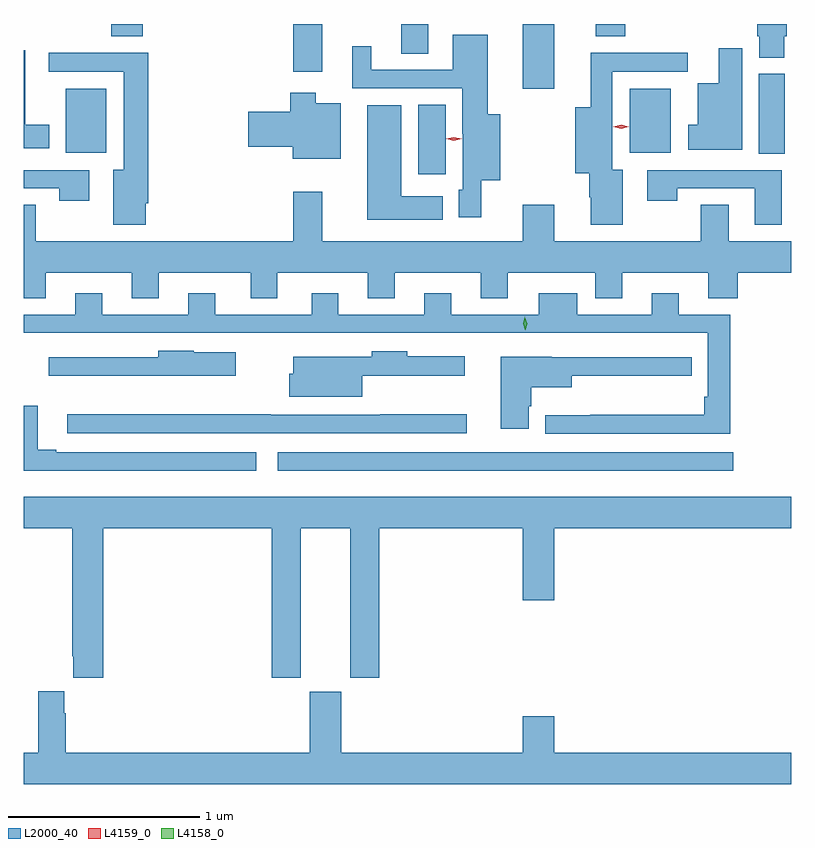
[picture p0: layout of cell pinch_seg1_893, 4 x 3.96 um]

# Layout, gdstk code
import gdstk
lib = gdstk.Library(unit=1e-6, precision=1e-09)
def R(c, l, rs):  # rectangles x0, y0, x1, y1
    for r in rs: c.add(gdstk.rectangle(r[:2], r[2:], *l))
def P(c, l, *ps):  # polygons
    for p in ps: c.add(gdstk.Polygon(p, *l))
L2000_40 = (2000, 40)
L4158_0 = (4158, 0)
L4159_0 = (4159, 0)

pinch_seg1_893 = lib.new_cell('pinch_seg1_893')
R(pinch_seg1_893, L2000_40, [(559.335,517.4,561.709,517.497), (560.066,518.946,560.209,519.308), (561.842,519.052,561.976,519.468), (558.23,519.056,558.442,519.391), (561.17,519.056,561.382,519.391), (560.612,519.39,560.776,519.728), (559.415,519.48,559.567,519.728), (559.979,519.574,560.119,519.728), (558.467,519.665,558.632,519.728), (560.993,519.665,561.146,519.728)])
P(pinch_seg1_893, L2000_40, [(561.973,519.663),(561.986,519.663),(561.986,519.728),(561.833,519.728),(561.833,519.663),(561.845,519.663),(561.845,519.553),(561.973,519.553)],
  [(560.396,518.915),(560.494,518.915),(560.494,519.259),(560.428,519.259),(560.428,519.673),(560.246,519.673),(560.246,519.489),(559.822,519.489),(559.822,519.613),(559.724,519.613),(559.724,519.393),(560.297,519.393),(560.297,519.155),(560.298,519.155),(560.298,518.865),(560.279,518.865),(560.279,518.721),(560.396,518.721)],
  [(561.754,519.601),(561.632,519.601),(561.632,519.418),(561.524,519.418),(561.524,519.202),(561.473,519.202),(561.473,519.074),(561.754,519.074)],
  [(558.145,519.202),(558.019,519.202),(558.019,519.592),(558.011,519.592),(558.011,519.08),(558.145,519.08)],
  [(561.133,518.968),(561.079,518.968),(561.079,519.48),(561.472,519.48),(561.472,519.578),(560.966,519.578),(560.966,519.295),(560.885,519.295),(560.885,518.951),(560.959,518.951),(560.959,518.825),(560.966,518.825),(560.966,518.682),(561.133,518.682)],
  [(558.646,518.794),(558.659,518.794),(558.659,519.578),(558.141,519.578),(558.141,519.48),(558.533,519.48),(558.533,518.968),(558.479,518.968),(558.479,518.682),(558.646,518.682)],
  [(559.663,519.316),(559.534,519.316),(559.534,519.37),(559.4,519.37),(559.4,519.272),(559.182,519.272),(559.182,519.089),(559.412,519.089),(559.412,519.026),(559.663,519.026)],
  [(560.194,518.83),(559.978,518.83),(559.978,519.304),(559.802,519.304),(559.802,518.708),(560.194,518.708)],
  [(558.352,518.967),(558.011,518.967),(558.011,518.871),(558.196,518.871),(558.196,518.808),(558.352,518.808)],
  [(561.961,518.967),(561.261,518.967),(561.261,518.808),(561.417,518.808),(561.417,518.871),(561.821,518.871),(561.821,518.682),(561.961,518.682)],
  [(558.127,518.432),(558.575,518.432),(558.575,518.299),(558.715,518.299),(558.715,518.432),(559.193,518.432),(559.193,518.299),(559.333,518.299),(559.333,518.432),(559.805,518.432),(559.805,518.299),(559.945,518.299),(559.945,518.432),(560.393,518.432),(560.393,518.299),(560.533,518.299),(560.533,518.432),(560.99,518.432),(560.99,518.299),(561.13,518.299),(561.13,518.432),(561.578,518.432),(561.578,518.299),(561.731,518.299),(561.731,518.432),(562.011,518.432),(562.011,518.596),(561.685,518.596),(561.685,518.786),(561.538,518.786),(561.538,518.596),(560.776,518.596),(560.776,518.785),(560.612,518.785),(560.612,518.596),(559.567,518.596),(559.567,518.854),(559.415,518.854),(559.415,518.596),(558.075,518.596),(558.075,518.786),(558.011,518.786),(558.011,518.299),(558.127,518.299)],
  [(561.692,518.214),(561.424,518.214),(561.424,518.326),(561.284,518.326),(561.284,518.214),(560.896,518.214),(560.896,518.326),(560.696,518.326),(560.696,518.214),(560.239,518.214),(560.239,518.326),(560.099,518.326),(560.099,518.214),(559.651,518.214),(559.651,518.326),(559.511,518.326),(559.511,518.214),(559.009,518.214),(559.009,518.326),(558.869,518.326),(558.869,518.214),(558.421,518.214),(558.421,518.326),(558.281,518.326),(558.281,518.214),(558.011,518.214),(558.011,518.118),(561.576,518.118),(561.576,517.786),(561.556,517.786),(561.556,517.691),(560.962,517.691),(560.962,517.69),(560.729,517.69),(560.729,517.593),(561.692,517.593)],
  [(559.117,518.017),(558.897,518.017),(558.897,518.026),(558.713,518.026),(558.713,517.992),(558.141,517.992),(558.141,517.895),(559.117,517.895)],
  [(559.774,517.895),(560.308,517.895),(560.308,517.996),(560.01,517.996),(560.01,518.023),(559.826,518.023),(559.826,517.993),(559.415,517.993),(559.415,517.905),(559.394,517.905),(559.394,517.787),(559.774,517.787)],
  [(560.644,517.736),(560.657,517.736),(560.657,517.835),(560.866,517.835),(560.866,517.895),(561.491,517.895),(561.491,517.991),(561.38,517.991),(561.38,517.992),(560.762,517.992),(560.762,517.993),(560.498,517.993),(560.498,517.62),(560.644,517.62)],
  [(559.222,517.497),(558.181,517.497),(558.181,517.51),(558.085,517.51),(558.085,517.738),(558.011,517.738),(558.011,517.4),(559.222,517.4)],
  [(560.32,517.694),(559.87,517.694),(559.87,517.692),(559.298,517.692),(559.298,517.694),(558.237,517.694),(558.237,517.596),(560.32,517.596)],
  [(558.425,517.1),(559.304,517.1),(559.304,516.321),(559.456,516.321),(559.456,517.1),(559.712,517.1),(559.712,516.321),(559.865,516.321),(559.865,517.1),(560.612,517.1),(560.612,516.726),(560.776,516.726),(560.776,517.1),(562.011,517.1),(562.011,517.264),(558.011,517.264),(558.011,517.1),(558.265,517.1),(558.265,516.433),(558.269,516.433),(558.269,516.321),(558.425,516.321)],
  [(562.011,515.932),(560.776,515.932),(560.776,516.121),(560.612,516.121),(560.612,515.932),(559.666,515.932),(559.666,516.249),(559.502,516.249),(559.502,515.932),(558.23,515.932),(558.23,516.137),(558.223,516.137),(558.223,516.25),(558.086,516.25),(558.086,515.932),(558.011,515.932),(558.011,515.768),(562.011,515.768)])
P(pinch_seg1_893, L4158_0, [(560.625,518.131),(560.625,518.131),(560.614,518.166),(560.622,518.201),(560.622,518.202),(560.622,518.201),(560.634,518.167),(560.625,518.131)])
P(pinch_seg1_893, L4159_0, [(560.252,519.119),(560.212,519.129),(560.212,519.129),(560.212,519.129),(560.252,519.139),(560.293,519.129),(560.293,519.129),(560.293,519.129)],
  [(561.124,519.183),(561.084,519.192),(561.084,519.192),(561.084,519.193),(561.124,519.203),(561.165,519.193),(561.165,519.193),(561.165,519.193)])

lib.write_gds('pinch_seg1_893.gds')
